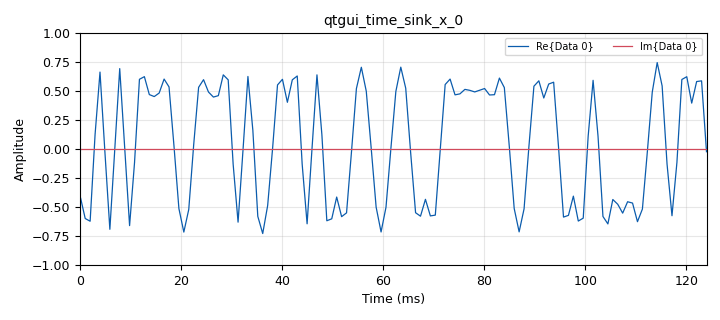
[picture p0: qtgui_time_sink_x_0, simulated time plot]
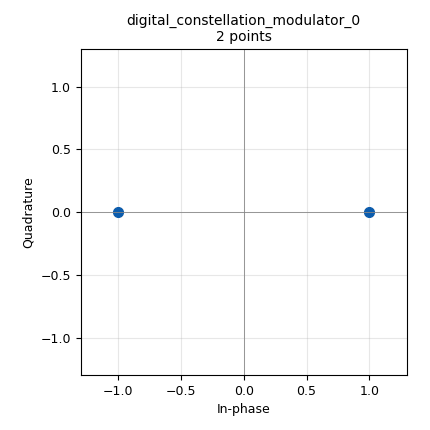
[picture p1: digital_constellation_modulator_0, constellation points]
options:
  parameters:
    author: Barry Duggan
    description: packet transmit (for GNURadio 3.8)
    generate_options: qt_gui
    id: pkt_xmt_gr38
    output_language: python
    title: pkt_xmt_gr38
  states: {}

blocks:
- name: bpsk
  id: variable_constellation
  parameters:
    precision: '8'
    type: bpsk
  states: {}
- name: excess_bw
  id: variable
  parameters:
    value: '0.35'
  states: {}
- name: rs_ratio
  id: variable
  parameters:
    value: '1.040'
  states: {}
- name: samp_rate
  id: variable
  parameters:
    value: '1024'
  states: {}
- name: sps
  id: variable
  parameters:
    value: '2'
  states: {}
- name: usrp_rate
  id: variable
  parameters:
    value: '768000'
  states: {}
- name: blocks_message_strobe_0
  id: blocks_message_strobe
  parameters:
    msg: pmt.cons(pmt.PMT_NIL,pmt.init_u8vector(9,[71,78,85,32,82,97,100,105,111]))
    period: '500'
  states: {}
- name: blocks_multiply_const_vxx_0
  id: blocks_multiply_const_vxx
  parameters:
    const: '0.5'
    type: complex
  states: {}
- name: blocks_pdu_to_tagged_stream_0
  id: blocks_pdu_to_tagged_stream
  parameters:
    tag: packet_len
    type: byte
  states: {}
- name: blocks_throttle_0
  id: blocks_throttle
  parameters:
    samples_per_second: samp_rate
    type: complex
  states: {}
- name: digital_constellation_modulator_0
  id: digital_constellation_modulator
  parameters:
    constellation: bpsk
    differential: 'True'
    excess_bw: excess_bw
    samples_per_symbol: sps
  states: {}
- name: digital_crc32_async_bb_1
  id: digital_crc32_async_bb
  parameters:
    check: 'False'
  states: {}
- name: import_0
  id: import
  parameters:
    imports: import numpy
  states: {}
- name: mmse_resampler_xx_0
  id: mmse_resampler_xx
  parameters:
    phase_shift: '0'
    resamp_ratio: 1.0/((usrp_rate/samp_rate)*rs_ratio)
    type: complex
  states: {}
- name: qtgui_time_sink_x_0
  id: qtgui_time_sink_x
  parameters:
    size: '128'
    srate: samp_rate
    tr_mode: qtgui.TRIG_MODE_TAG
    tr_tag: '"packet_len"'
    type: complex
  states: {}
- name: virtual_sink_0
  id: virtual_sink
  parameters:
    stream_id: tx1
  states: {}
- name: virtual_source_0
  id: virtual_source
  parameters:
    stream_id: tx1
  states: {}
- name: zeromq_pub_sink_0
  id: zeromq_pub_sink
  parameters:
    address: tcp://127.0.0.1:49203
    comment: USRP sample rate = 768kHz
    timeout: '100'
    type: complex
  states: {}

connections:
- [blocks_message_strobe_0, strobe, digital_crc32_async_bb_1, in]
- [blocks_multiply_const_vxx_0, '0', mmse_resampler_xx_0, '0']
- [blocks_multiply_const_vxx_0, '0', qtgui_time_sink_x_0, '0']
- [blocks_pdu_to_tagged_stream_0, '0', digital_constellation_modulator_0, '0']
- [blocks_throttle_0, '0', blocks_multiply_const_vxx_0, '0']
- [digital_constellation_modulator_0, '0', virtual_sink_0, '0']
- [digital_crc32_async_bb_1, out, blocks_pdu_to_tagged_stream_0, pdus]
- [mmse_resampler_xx_0, '0', zeromq_pub_sink_0, '0']
- [virtual_source_0, '0', blocks_throttle_0, '0']

metadata:
  file_format: 1
